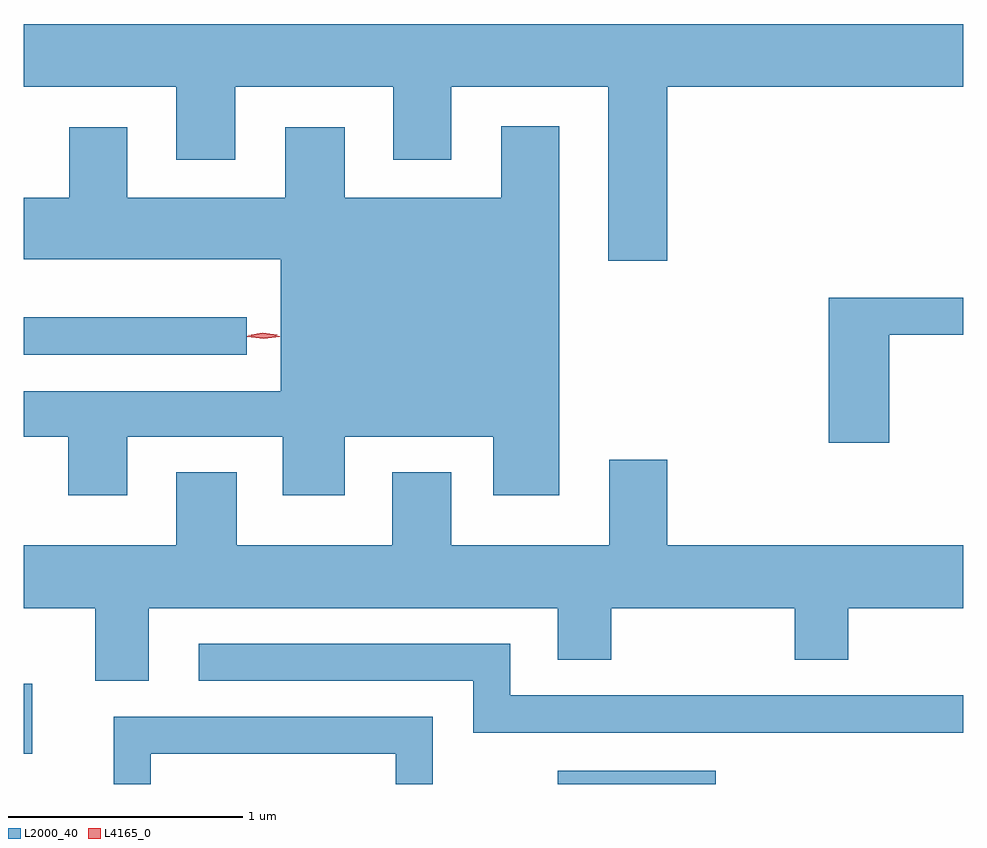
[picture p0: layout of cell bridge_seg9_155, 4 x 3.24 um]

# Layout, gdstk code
import gdstk
lib = gdstk.Library(unit=1e-6, precision=1e-09)
def R(c, l, rs):  # rectangles x0, y0, x1, y1
    for r in rs: c.add(gdstk.rectangle(r[:2], r[2:], *l))
def P(c, l, *ps):  # polygons
    for p in ps: c.add(gdstk.Polygon(p, *l))
L2000_40 = (2000, 40)
L4165_0 = (4165, 0)

bridge_seg9_155 = lib.new_cell('bridge_seg9_155')
R(bridge_seg9_155, L2000_40, [(1444.731,2062.107,1445.404,2062.164), (1442.458,2062.236,1442.494,2062.533), (1442.458,2063.936,1443.408,2064.094)])
P(bridge_seg9_155, L2000_40, [(1442.458,2065.076),(1443.106,2065.076),(1443.106,2064.766),(1443.359,2064.766),(1443.359,2065.076),(1444.031,2065.076),(1444.031,2064.766),(1444.279,2064.766),(1444.279,2065.076),(1444.946,2065.076),(1444.946,2064.336),(1445.199,2064.336),(1445.199,2065.076),(1446.458,2065.076),(1446.458,2065.344),(1442.458,2065.344)],
  [(1442.899,2063.586),(1443.561,2063.586),(1443.561,2063.336),(1443.824,2063.336),(1443.824,2063.586),(1444.456,2063.586),(1444.456,2063.336),(1444.739,2063.336),(1444.739,2064.909),(1444.491,2064.909),(1444.491,2064.604),(1443.824,2064.604),(1443.824,2064.904),(1443.571,2064.904),(1443.571,2064.604),(1442.899,2064.604),(1442.899,2064.904),(1442.651,2064.904),(1442.651,2064.604),(1442.458,2064.604),(1442.458,2064.341),(1443.551,2064.341),(1443.551,2063.779),(1442.458,2063.779),(1442.458,2063.586),(1442.646,2063.586),(1442.646,2063.336),(1442.899,2063.336)],
  [(1446.144,2064.021),(1446.458,2064.021),(1446.458,2064.179),(1445.886,2064.179),(1445.886,2063.561),(1446.144,2063.561)],
  [(1444.731,2062.636),(1444.959,2062.636),(1444.959,2062.856),(1445.741,2062.856),(1445.741,2062.636),(1445.969,2062.636),(1445.969,2062.856),(1446.458,2062.856),(1446.458,2063.124),(1445.199,2063.124),(1445.199,2063.489),(1444.951,2063.489),(1444.951,2063.124),(1444.279,2063.124),(1444.279,2063.434),(1444.026,2063.434),(1444.026,2063.124),(1443.364,2063.124),(1443.364,2063.434),(1443.106,2063.434),(1443.106,2063.124),(1442.458,2063.124),(1442.458,2062.856),(1442.761,2062.856),(1442.761,2062.546),(1442.989,2062.546),(1442.989,2062.856),(1444.731,2062.856)],
  [(1446.458,2062.484),(1444.529,2062.484),(1444.529,2062.704),(1443.203,2062.704),(1443.203,2062.546),(1444.371,2062.546),(1444.371,2062.326),(1446.458,2062.326)],
  [(1442.999,2062.236),(1444.041,2062.236),(1444.041,2062.107),(1444.199,2062.107),(1444.199,2062.394),(1442.841,2062.394),(1442.841,2062.107),(1442.999,2062.107)])
P(bridge_seg9_155, L4165_0, [(1443.479,2064.003),(1443.41,2064.012),(1443.409,2064.013),(1443.41,2064.013),(1443.479,2064.023),(1443.547,2064.013),(1443.548,2064.013),(1443.547,2064.012)],
  [(1443.475,2064.009),(1443.414,2064.018),(1443.413,2064.019),(1443.414,2064.019),(1443.475,2064.029),(1443.538,2064.02),(1443.538,2064.019),(1443.538,2064.019)])

lib.write_gds('bridge_seg9_155.gds')
